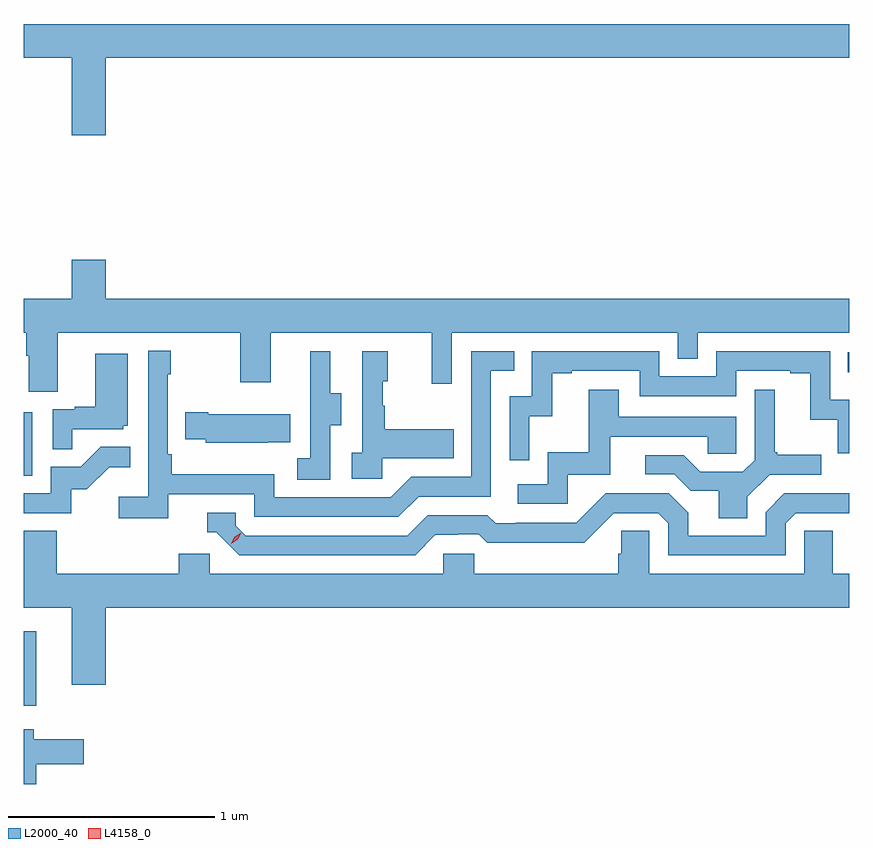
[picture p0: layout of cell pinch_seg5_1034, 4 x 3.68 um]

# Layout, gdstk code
import gdstk
lib = gdstk.Library(unit=1e-6, precision=1e-09)
def R(c, l, rs):  # rectangles x0, y0, x1, y1
    for r in rs: c.add(gdstk.rectangle(r[:2], r[2:], *l))
def P(c, l, *ps):  # polygons
    for p in ps: c.add(gdstk.Polygon(p, *l))
L2000_40 = (2000, 40)
L4158_0 = (4158, 0)

pinch_seg5_1034 = lib.new_cell('pinch_seg5_1034')
R(pinch_seg5_1034, L2000_40, [(848.092,860.279,848.152,860.641), (848.092,861.396,848.134,861.703), (852.085,861.896,852.092,861.993)])
P(pinch_seg5_1034, L2000_40, [(848.488,863.42),(852.092,863.42),(852.092,863.584),(848.092,863.584),(848.092,863.42),(848.324,863.42),(848.324,863.046),(848.488,863.046)],
  [(848.257,862.088),(849.142,862.088),(849.142,861.849),(849.289,861.849),(849.289,862.088),(850.07,862.088),(850.07,861.84),(850.167,861.84),(850.167,862.088),(851.262,862.088),(851.262,861.961),(851.358,861.961),(851.358,862.088),(852.092,862.088),(852.092,862.252),(848.488,862.252),(848.488,862.441),(848.324,862.441),(848.324,862.252),(848.092,862.252),(848.092,862.088),(848.105,862.088),(848.105,861.976),(848.117,861.976),(848.117,861.802),(848.257,861.802)],
  [(848.792,861.306),(849.21,861.306),(849.21,861.195),(849.907,861.195),(850.006,861.294),(850.356,861.294),(850.356,861.903),(850.469,861.903),(850.469,861.999),(850.26,861.999),(850.26,861.39),(849.969,861.39),(849.87,861.291),(849.306,861.291),(849.306,861.403),(848.81,861.403),(848.81,861.499),(848.79,861.499),(848.79,861.887),(848.803,861.887),(848.803,862),(848.694,862),(848.694,861.292),(848.553,861.292),(848.553,861.19),(848.792,861.19)],
  [(850.542,861.683),(850.652,861.683),(850.652,861.891),(850.747,861.891),(850.747,861.903),(851.076,861.903),(851.076,861.78),(851.544,861.78),(851.544,861.903),(851.807,861.903),(851.807,861.891),(851.903,861.891),(851.903,861.665),(852.036,861.665),(852.036,861.504),(852.092,861.504),(852.092,861.763),(852,861.763),(852,861.999),(851.448,861.999),(851.448,861.876),(851.172,861.876),(851.172,861.999),(850.554,861.999),(850.554,861.78),(850.446,861.78),(850.446,861.471),(850.542,861.471)],
  [(849.576,861.64),(849.631,861.64),(849.631,861.795),(849.577,861.795),(849.577,861.997),(849.479,861.997),(849.479,861.783),(849.48,861.783),(849.48,861.479),(849.417,861.479),(849.417,861.376),(849.576,861.376)],
  [(849.828,861.479),(850.175,861.479),(850.175,861.619),(849.841,861.619),(849.841,861.734),(849.831,861.734),(849.831,861.852),(849.856,861.852),(849.856,861.997),(849.732,861.997),(849.732,861.506),(849.681,861.506),(849.681,861.381),(849.828,861.381)],
  [(848.327,861.621),(848.574,861.621),(848.574,861.636),(848.596,861.636),(848.596,861.985),(848.438,861.985),(848.438,861.73),(848.339,861.73),(848.339,861.717),(848.232,861.717),(848.232,861.523),(848.327,861.523)],
  [(851.599,861.292),(851.706,861.399),(851.956,861.399),(851.956,861.496),(851.743,861.496),(851.743,861.508),(851.731,861.508),(851.731,861.811),(851.634,861.811),(851.634,861.471),(851.577,861.414),(851.371,861.414),(851.29,861.495),(851.103,861.495),(851.103,861.402),(851.244,861.402),(851.324,861.322),(851.459,861.322),(851.459,861.19),(851.599,861.19)],
  [(850.728,861.399),(850.933,861.399),(850.933,861.585),(851.407,861.585),(851.407,861.501),(851.544,861.501),(851.544,861.681),(850.975,861.681),(850.975,861.811),(850.831,861.811),(850.831,861.508),(850.632,861.508),(850.632,861.354),(850.485,861.354),(850.485,861.258),(850.728,861.258)],
  [(849.275,861.557),(849.383,861.557),(849.383,861.694),(848.986,861.694),(848.986,861.702),(848.875,861.702),(848.875,861.572),(848.973,861.572),(848.973,861.554),(849.275,861.554)],
  [(848.322,861.33),(848.398,861.33),(848.505,861.437),(848.609,861.437),(848.609,861.536),(848.465,861.536),(848.367,861.438),(848.223,861.438),(848.223,861.309),(848.092,861.309),(848.092,861.213),(848.322,861.213)],
  [(850.087,861.108),(850.194,861.108),(850.194,861.111),(850.297,861.111),(850.339,861.069),(850.572,861.069),(850.572,861.071),(850.808,861.071),(850.95,861.213),(851.166,861.213),(851.214,861.165),(851.214,861.009),(851.784,861.009),(851.784,861.165),(851.832,861.213),(852.092,861.213),(852.092,861.311),(851.994,861.311),(851.994,861.309),(851.778,861.309),(851.688,861.219),(851.688,861.105),(851.311,861.105),(851.311,861.215),(851.217,861.309),(850.911,861.309),(850.77,861.168),(850.477,861.168),(850.477,861.165),(850.378,861.165),(850.339,861.204),(850.05,861.204),(849.951,861.105),(849.168,861.105),(849.12,861.153),(849.12,861.216),(848.981,861.216),(848.981,861.12),(849.024,861.12),(849.135,861.009),(849.988,861.009)],
  [(848.252,861.128),(848.092,861.128),(848.092,860.756),(848.324,860.756),(848.324,860.382),(848.488,860.382),(848.488,860.756),(852.092,860.756),(852.092,860.92),(852.013,860.92),(852.013,861.128),(851.874,861.128),(851.874,860.92),(851.124,860.92),(851.124,861.128),(850.987,861.128),(850.987,861.018),(850.973,861.018),(850.973,860.92),(850.275,860.92),(850.275,861.018),(850.125,861.018),(850.125,860.92),(848.994,860.92),(848.994,861.018),(848.843,861.018),(848.843,860.92),(848.252,860.92)],
  [(848.153,859.997),(848.383,859.997),(848.383,860.119),(848.14,860.119),(848.14,860.167),(848.092,860.167),(848.092,859.901),(848.153,859.901)])
P(pinch_seg5_1034, L4158_0, [(849.097,861.066),(849.097,861.067),(849.114,861.099),(849.145,861.118),(849.145,861.118),(849.145,861.118),(849.128,861.086),(849.097,861.066)])

lib.write_gds('pinch_seg5_1034.gds')
